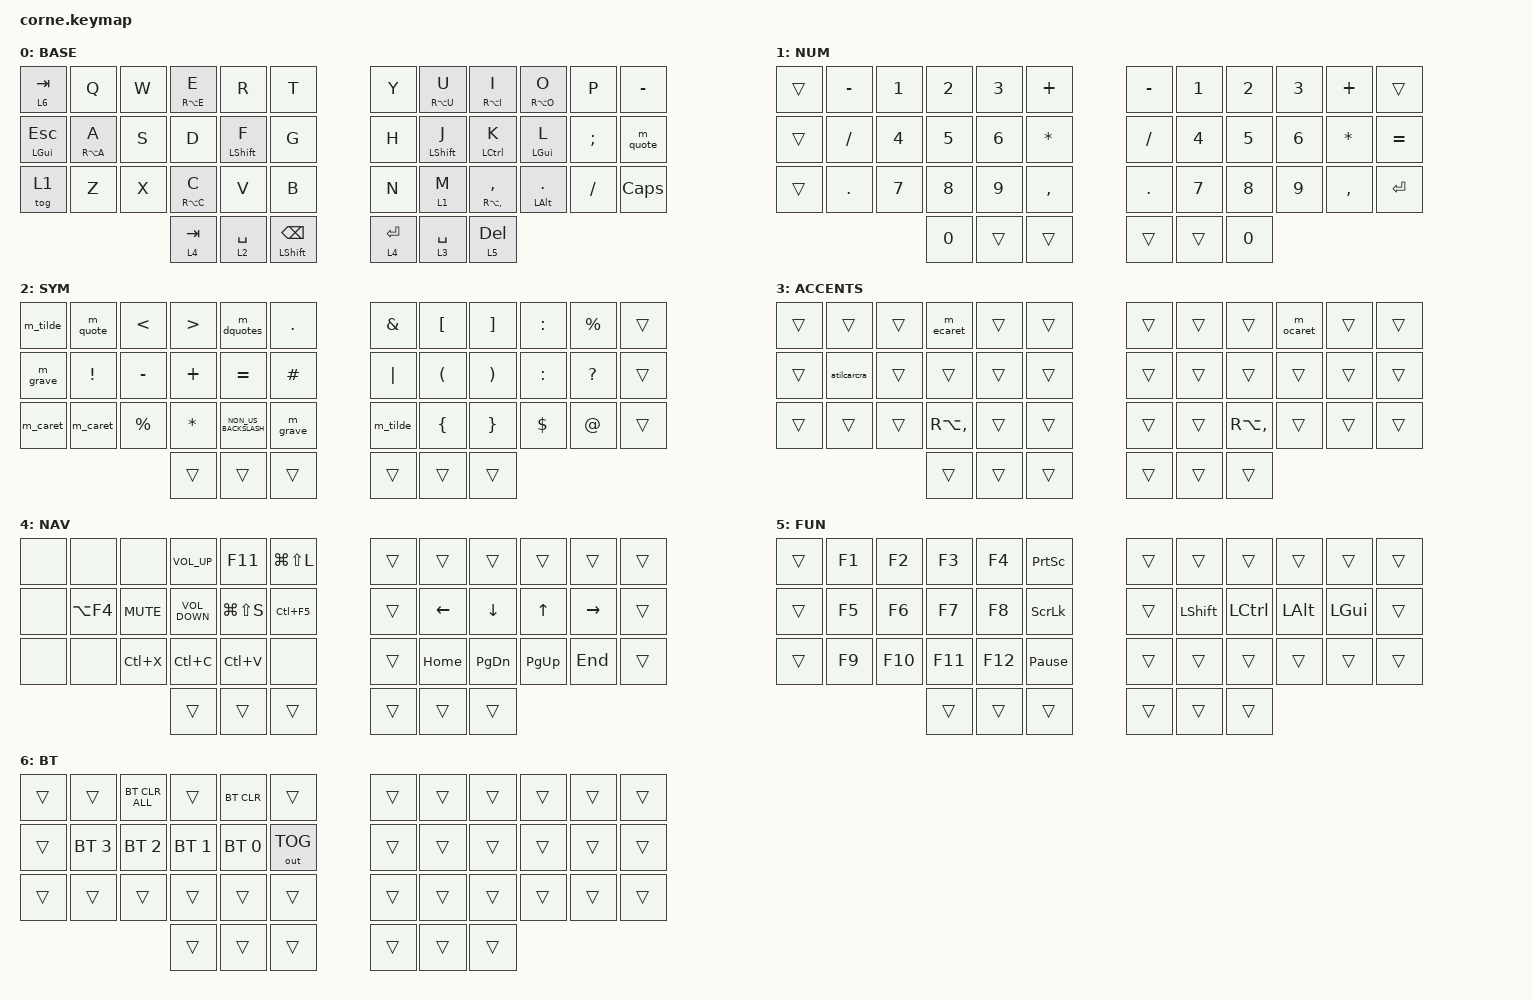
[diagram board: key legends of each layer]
/*
 * Copyright (c) 2020 The ZMK Contributors
 *
 * SPDX-License-Identifier: MIT
 */

#include <behaviors.dtsi>
#include <dt-bindings/zmk/bt.h>
#include <dt-bindings/zmk/keys.h>
#include <dt-bindings/zmk/outputs.h>

/ {
    combos {
        compatible = "zmk,combos";

        df_enter {
            bindings = <&kp RET>;
            key-positions = <15 16>;
        };

        jk_esc {
            bindings = <&kp ESCAPE>;
            key-positions = <19 20>;
        };

        fj_caps {
            bindings = <&kp CAPSLOCK>;
            key-positions = <16 19>;
        };

        space {
            bindings = <&kp SPACE>;
            key-positions = <37 40>;
        };

        bk_word {
            bindings = <&kp LC(BACKSPACE)>;
            key-positions = <38 41>;
        };
    };

    behaviors {
        homerow: homerow {
            compatible = "zmk,behavior-hold-tap";
            label = "HOMEROW";
            bindings = <&kp>, <&kp>;

            #binding-cells = <2>;
            flavor = "tap-preferred";
            tapping-term-ms = <200>;
            require-prior-idle-ms = <150>;
        };

        homerow_shift: homerow_shift {
            compatible = "zmk,behavior-hold-tap";
            label = "HOMEROW_SHIFT";
            bindings = <&kp>, <&kp>;

            #binding-cells = <2>;
            flavor = "tap-preferred";
            tapping-term-ms = <150>;
            require-prior-idle-ms = <120>;
        };

        accent: accent {
            compatible = "zmk,behavior-hold-tap";
            label = "ACCENT";
            bindings = <&kp>, <&kp>;

            #binding-cells = <2>;
            tapping-term-ms = <180>;
            flavor = "tap-preferred";
        };

        otilcar: otilcar {
            compatible = "zmk,behavior-hold-tap";
            label = "OTILCAR";
            bindings = <&m_ocaret>, <&m_otilde>;

            #binding-cells = <2>;
            flavor = "tap-preferred";
            tapping-term-ms = <180>;
        };

        atilcar: atilcar {
            compatible = "zmk,behavior-hold-tap";
            label = "ATILCAR";
            bindings = <&m_acaret>, <&m_atilde>;

            #binding-cells = <2>;
            flavor = "tap-preferred";
            tapping-term-ms = <180>;
        };

        atilcarcra: atilcarcra {
            compatible = "zmk,behavior-tap-dance";
            label = "ATILCARCRA";
            #binding-cells = <0>;
            bindings = <&atilcar 0 0>, <&m_crase>;

            tapping-term-ms = <180>;
        };
    };

    macros {
        m_quote: quotes {
            compatible = "zmk,behavior-macro";
            #binding-cells = <0>;
            bindings = <&kp SINGLE_QUOTE &kp SPACE>;
            label = "m_quote";
        };

        m_dquotes: m_dquotes {
            compatible = "zmk,behavior-macro";
            #binding-cells = <0>;
            bindings = <&kp DOUBLE_QUOTES &kp SPACE>;
            label = "M_DQUOTES";
        };

        m_grave: m_grave {
            compatible = "zmk,behavior-macro";
            #binding-cells = <0>;
            bindings = <&kp GRAVE &kp SPACE>;
            label = "M_GRAVE";
        };

        m_tilde: m_tilde {
            compatible = "zmk,behavior-macro";
            #binding-cells = <0>;
            bindings = <&kp TILDE &kp SPACE>;
            label = "M_TILDE";
        };

        m_atilde: m_atilde {
            compatible = "zmk,behavior-macro";
            #binding-cells = <0>;
            bindings = <&kp TILDE &kp A>;
            label = "m_atilde";
        };

        m_acaret: m_acaret {
            compatible = "zmk,behavior-macro";
            #binding-cells = <0>;
            bindings = <&kp CARET &kp A>;
            label = "m_acaret";
        };

        m_ecaret: m_ecaret {
            compatible = "zmk,behavior-macro";
            #binding-cells = <0>;
            bindings = <&kp CARET &kp E>;
            label = "m_ecaret";
        };

        m_otilde: m_otilde {
            compatible = "zmk,behavior-macro";
            #binding-cells = <0>;
            bindings = <&kp TILDE &kp O>;
            label = "m_otilde";
        };

        m_ocaret: m_ocaret {
            compatible = "zmk,behavior-macro";
            #binding-cells = <0>;
            bindings = <&kp CARET &kp O>;
            label = "m_ocaret";
        };

        m_crase: m_crase {
            compatible = "zmk,behavior-macro";
            #binding-cells = <0>;
            bindings = <&kp GRAVE &kp A>;
            label = "M_CRASE";
        };

        m_crase_upper: m_crase_upper {
            compatible = "zmk,behavior-macro";
            #binding-cells = <0>;
            bindings = <&kp GRAVE &kp LS(A)>;
            label = "M_CRASE_UPPER";
        };

        m_caret: m_caret {
            compatible = "zmk,behavior-macro";
            #binding-cells = <0>;
            bindings = <&kp CARET &kp SPACE>;
            label = "M_CARET";
        };
    };

    keymap {
        compatible = "zmk,keymap";

        BASE {
            bindings = <
&lt 6 TAB            &kp Q            &kp W  &accent RA(E) E  &kp R                        &kp T                       &kp Y      &accent RA(U) U        &accent RA(I) I          &accent RA(O) O           &kp P          &kp MINUS
&mt LEFT_GUI ESCAPE  &accent RA(A) A  &kp S  &kp D            &homerow_shift LEFT_SHIFT F  &kp G                       &kp H      &homerow LEFT_SHIFT J  &homerow LCTRL K         &homerow LEFT_GUI L       &kp SEMICOLON  &m_quote
&tog 1               &kp Z            &kp X  &accent RA(C) C  &kp V                        &kp B                       &kp N      &lt 1 M                &accent RA(COMMA) COMMA  &homerow LEFT_ALT PERIOD  &kp FSLH       &kp CAPSLOCK
                                             &lt 4 TAB        &lt 2 SPACE                  &mt LEFT_SHIFT BACKSPACE    &lt 4 RET  &lt 3 SPACE            &lt 5 DELETE
            >;
        };

        NUM {
            bindings = <
&trans  &kp MINUS  &kp N1        &kp N2  &kp N3        &kp PLUS        &kp MINUS   &kp N1  &kp N2  &kp N3  &kp PLUS      &trans
&trans  &kp SLASH  &kp NUMBER_4  &kp N5  &kp NUMBER_6  &kp ASTERISK    &kp SLASH   &kp N4  &kp N5  &kp N6  &kp ASTERISK  &kp EQUAL
&trans  &kp DOT    &kp N7        &kp N8  &kp N9        &kp COMMA       &kp PERIOD  &kp N7  &kp N8  &kp N9  &kp COMMA     &kp ENTER
                                 &kp N0  &trans        &trans          &trans      &trans  &kp N0
            >;
        };

        SYM {
            bindings = <
&m_tilde  &m_quote         &kp LESS_THAN  &kp GREATER_THAN  &m_dquotes            &kp PERIOD    &kp AMPERSAND  &kp LEFT_BRACKET      &kp RIGHT_BRACKET      &kp COLON   &kp PERCENT   &trans
&m_grave  &kp EXCLAMATION  &kp MINUS      &kp PLUS          &kp EQUAL             &kp HASH      &kp PIPE       &kp LEFT_PARENTHESIS  &kp RIGHT_PARENTHESIS  &kp COLON   &kp QUESTION  &trans
&m_caret  &m_caret         &kp PERCENT    &kp ASTERISK      &kp NON_US_BACKSLASH  &m_grave      &m_tilde       &kp LBRC              &kp RIGHT_BRACE        &kp DOLLAR  &kp AT_SIGN   &trans
                                          &trans            &trans                &trans        &trans         &trans                &trans
            >;
        };

        ACCENTS {
            bindings = <
&trans  &trans       &trans  &m_ecaret      &trans  &trans    &trans  &trans  &trans         &m_ocaret  &trans  &trans
&trans  &atilcarcra  &trans  &trans         &trans  &trans    &trans  &trans  &trans         &trans     &trans  &trans
&trans  &trans       &trans  &kp RA(COMMA)  &trans  &trans    &trans  &trans  &kp RA(COMMA)  &trans     &trans  &trans
                             &trans         &trans  &trans    &trans  &trans  &trans
            >;
        };

        NAV {
            bindings = <
&none  &none       &none       &kp C_VOLUME_UP    &kp F11        &kp LG(LS(L))    &trans  &trans          &trans          &trans        &trans           &trans
&none  &kp LA(F4)  &kp C_MUTE  &kp C_VOLUME_DOWN  &kp LG(LS(S))  &kp LC(F5)       &trans  &kp LEFT_ARROW  &kp DOWN_ARROW  &kp UP_ARROW  &kp RIGHT_ARROW  &trans
&none  &none       &kp LC(X)   &kp LC(C)          &kp LC(V)      &none            &trans  &kp HOME        &kp PAGE_DOWN   &kp PAGE_UP   &kp END          &trans
                               &trans             &trans         &trans           &trans  &trans          &trans
            >;
        };

        FUN {
            bindings = <
&trans  &kp F1  &kp F2   &kp F3   &kp F4   &kp PRINTSCREEN    &trans  &trans     &trans     &trans    &trans    &trans
&trans  &kp F5  &kp F6   &kp F7   &kp F8   &kp SCROLLLOCK     &trans  &kp LSHFT  &kp LCTRL  &kp LALT  &kp LGUI  &trans
&trans  &kp F9  &kp F10  &kp F11  &kp F12  &kp PAUSE_BREAK    &trans  &trans     &trans     &trans    &trans    &trans
                         &trans   &trans   &trans             &trans  &trans     &trans
            >;
        };

        BT {
            bindings = <
&trans  &trans        &bt BT_CLR_ALL  &trans        &bt BT_CLR    &trans          &trans  &trans  &trans  &trans  &trans  &trans
&trans  &bt BT_SEL 3  &bt BT_SEL 2    &bt BT_SEL 1  &bt BT_SEL 0  &out OUT_TOG    &trans  &trans  &trans  &trans  &trans  &trans
&trans  &trans        &trans          &trans        &trans        &trans          &trans  &trans  &trans  &trans  &trans  &trans
                                      &trans        &trans        &trans          &trans  &trans  &trans
            >;
        };
    };
};
